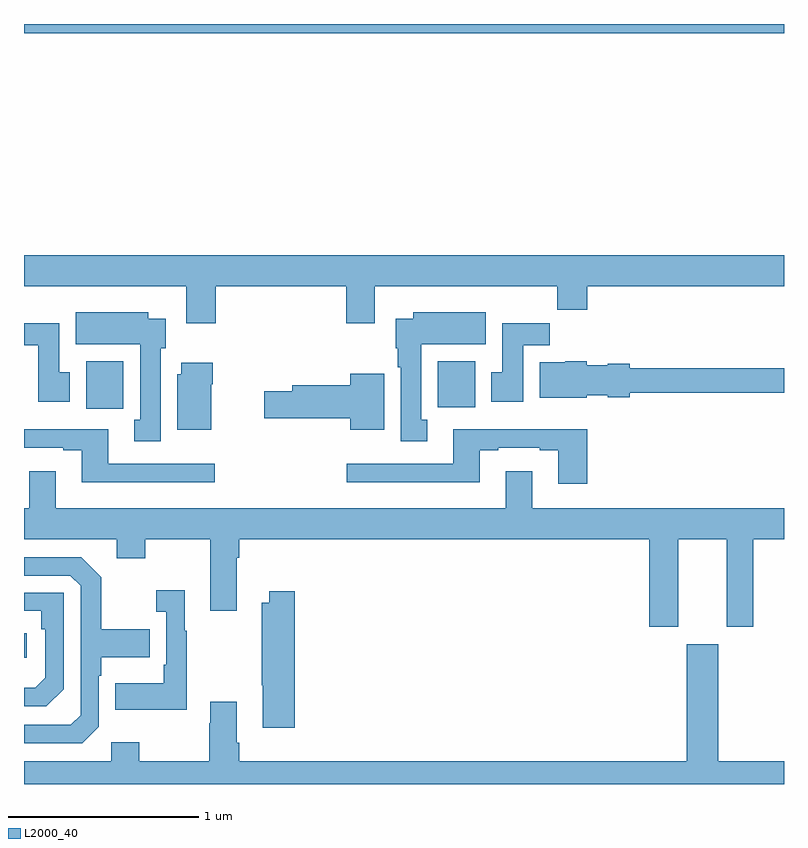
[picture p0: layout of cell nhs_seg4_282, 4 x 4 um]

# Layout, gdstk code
import gdstk
lib = gdstk.Library(unit=1e-6, precision=1e-09)
def R(c, l, rs):  # rectangles x0, y0, x1, y1
    for r in rs: c.add(gdstk.rectangle(r[:2], r[2:], *l))
def P(c, l, *ps):  # polygons
    for p in ps: c.add(gdstk.Polygon(p, *l))
L2000_40 = (2000, 40)

nhs_seg4_282 = lib.new_cell('nhs_seg4_282')
R(nhs_seg4_282, L2000_40, [(125,761.564,125.014,761.694), (125.327,762.876,125.523,763.126), (127.178,762.884,127.375,763.126), (125,764.852,129,764.9)])
P(nhs_seg4_282, L2000_40, [(126.008,763.52),(126.695,763.52),(126.695,763.326),(126.847,763.326),(126.847,763.52),(127.807,763.52),(127.807,763.396),(127.964,763.396),(127.964,763.52),(129,763.52),(129,763.684),(125,763.684),(125,763.52),(125.855,763.52),(125.855,763.326),(126.008,763.326)],
  [(125.719,763.194),(125.746,763.194),(125.746,763.348),(125.653,763.348),(125.653,763.384),(125.273,763.384),(125.273,763.214),(125.612,763.214),(125.612,762.817),(125.579,762.817),(125.579,762.705),(125.719,762.705)],
  [(127.123,762.818),(127.09,762.818),(127.09,763.214),(127.429,763.214),(127.429,763.384),(127.049,763.384),(127.049,763.348),(126.956,763.348),(126.956,763.194),(126.968,763.194),(126.968,763.094),(126.983,763.094),(126.983,762.705),(127.123,762.705)],
  [(127.627,763.208),(127.766,763.208),(127.766,763.326),(127.517,763.326),(127.517,763.068),(127.46,763.068),(127.46,762.912),(127.627,762.912)],
  [(125.242,763.068),(125.185,763.068),(125.185,763.326),(125,763.326),(125,763.208),(125.075,763.208),(125.075,762.912),(125.242,762.912)],
  [(127.962,762.947),(128.073,762.947),(128.073,762.935),(128.188,762.935),(128.188,762.958),(129,762.958),(129,763.087),(128.188,763.087),(128.188,763.113),(128.073,763.113),(128.073,763.105),(127.962,763.105),(127.962,763.126),(127.848,763.126),(127.848,763.12),(127.715,763.12),(127.715,762.932),(127.962,762.932)],
  [(125.986,763.004),(125.994,763.004),(125.994,763.117),(125.828,763.117),(125.828,763.056),(125.807,763.056),(125.807,762.764),(125.986,762.764)],
  [(126.895,763.06),(126.716,763.06),(126.716,762.998),(126.413,762.998),(126.413,762.968),(126.264,762.968),(126.264,762.826),(126.716,762.826),(126.716,762.764),(126.895,762.764)],
  [(127.964,762.766),(127.259,762.766),(127.259,762.585),(126.699,762.585),(126.699,762.488),(127.399,762.488),(127.399,762.657),(127.495,762.657),(127.495,762.669),(127.715,762.669),(127.715,762.657),(127.811,762.657),(127.811,762.48),(127.964,762.48)],
  [(126.004,762.585),(125.443,762.585),(125.443,762.766),(125,762.766),(125,762.669),(125.207,762.669),(125.207,762.657),(125.303,762.657),(125.303,762.488),(126.004,762.488)],
  [(125.027,762.547),(125.027,762.352),(125,762.352),(125,762.188),(125.489,762.188),(125.489,762.089),(125.637,762.089),(125.637,762.188),(125.981,762.188),(125.981,761.811),(126.121,761.811),(126.121,762.092),(126.134,762.092),(126.134,762.188),(128.291,762.188),(128.291,761.727),(128.443,761.727),(128.443,762.188),(128.699,762.188),(128.699,761.727),(128.839,761.727),(128.839,762.188),(129,762.188),(129,762.352),(127.675,762.352),(127.675,762.547),(127.535,762.547),(127.535,762.352),(125.167,762.352),(125.167,762.547)],
  [(125.394,761.202),(125.394,761.471),(125.407,761.471),(125.407,761.567),(125.663,761.567),(125.663,761.715),(125.407,761.715),(125.407,761.987),(125.301,762.093),(125.001,762.093),(125.001,761.997),(125.244,761.997),(125.298,761.943),(125.298,761.262),(125.247,761.211),(125,761.211),(125,761.115),(125.307,761.115)],
  [(125.857,761.707),(125.845,761.707),(125.845,761.92),(125.697,761.92),(125.697,761.807),(125.748,761.807),(125.748,761.527),(125.736,761.527),(125.736,761.431),(125.479,761.431),(125.479,761.291),(125.857,761.291)],
  [(126.425,761.914),(126.29,761.914),(126.29,761.854),(126.25,761.854),(126.25,761.419),(126.257,761.419),(126.257,761.196),(126.425,761.196)],
  [(125.208,761.4),(125.208,761.907),(125,761.907),(125,761.811),(125.092,761.811),(125.092,761.714),(125.112,761.714),(125.112,761.46),(125.059,761.407),(125,761.407),(125,761.31),(125.118,761.31)],
  [(129,761.02),(128.653,761.02),(128.653,761.635),(128.489,761.635),(128.489,761.02),(126.134,761.02),(126.134,761.116),(126.121,761.116),(126.121,761.332),(125.981,761.332),(125.981,761.219),(125.974,761.219),(125.974,761.02),(125.607,761.02),(125.607,761.119),(125.46,761.119),(125.46,761.02),(125,761.02),(125,760.9),(129,760.9)])

lib.write_gds('nhs_seg4_282.gds')
